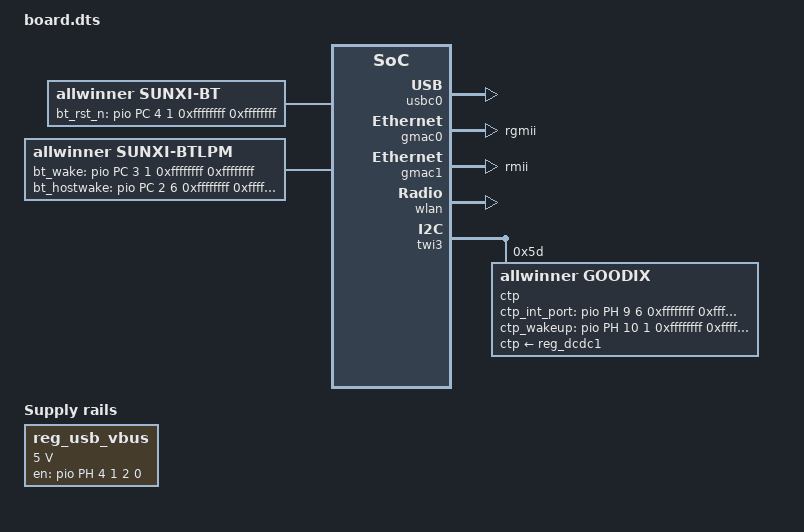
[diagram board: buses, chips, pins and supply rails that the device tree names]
/*
 * qihua-x507 board support.
 */

/dts-v1/;

#include "qihua-x507-common.dtsi"
//#include "qihua-x507-nvp6158.dtsi"
//#include "qihua-x507-nvp6158xusb.dtsi"
//#include "qihua-x507-ov2680.dtsi"
#include "qihua-x507-ov5640.dtsi"
//#include "qihua-x507-edp1920x1080.dtsi"
//#include "qihua-x507-vga1280x800.dtsi"
//#include "qihua-x507-lvds800x600.dtsi"
//#include "qihua-x507-lvds1024x768.dtsi"
//#include "qihua-x507-lvds1920x1080.dtsi"
//#include "qihua-x507-lvdsEV101WXM-N80.dtsi"
//#include "qihua-x507-hdmi720p.dtsi"
//#include "qihua-x507-hdmi1080p.dtsi"
//#include "qihua-x507-rgb800x480.dtsi"
#include "qihua-x507-rgb1024x600.dtsi"


&reg_usb_vbus {
	compatible = "regulator-fixed";
	gpio = <&pio PH 4 1 2 0 1>;
	regulator-name = "usb-vbus";
	regulator-min-microvolt = <5000000>;
	regulator-max-microvolt = <5000000>;
	enable-active-high;
};

&soc {
	usbc0:usbc0@0 {
		device_type		= "usbc0";
		usb_port_type		= <0x2>;
		usb_detect_type		= <0x1>;
		usb_detect_mode		= <0x0>;
		usb_id_gpio		= <&pio PE 16 0 1 0 0>;
		usb_det_vbus_gpio	= <&pio PE 17 0 1 0 0>;
		usb_regulator_io	= "nocare";
		usb_wakeup_suspend	= <0x0>;
		usb_luns		= <0x3>;
		usb_serial_unique	= <0x0>;
		usb_serial_number	= "20080411";
		status			= "okay";
	};

	gmac0: eth@05020000 {
		phy-mode = "rgmii";
		phy-rst = <&pio PI 6 1 1 1 0>;
		use_ephy25m = <0>;
		tx-delay = <5>;
		rx-delay = <17>;
		gmac-power0-supply = <&reg_cldo1>;
		gmac-power1-supply;
		gmac-power2-supply;
		gmac-power0-vol = <3300000>;
		gmac-power1-vol;
		gmac-power2-vol;
		status = "okay";
	};

	gmac1: eth@05030000 {
		phy-mode = "rmii";
		phy-rst = <&pio PA 12 1 1 1 0>;
		use_ephy25m = <0>;
		tx-delay = <7>;
		rx-delay = <0>;
		gmac-power0-supply = <&reg_dcdc1>;
		gmac-power1-supply;
		gmac-power2-supply;
		gmac-power0-vol = <3300000>;
		gmac-power1-vol;
		gmac-power2-vol;
		status = "okay";
	};

	wlan:wlan {
		compatible    = "allwinner,sunxi-wlan";
		clocks        = <&clk_losc_out>;
		pinctrl-0     = <&clk_losc_pins_a>;
		pinctrl-names = "default";
		wlan_busnum   = <0x1>;
		wlan_power    = "axp858-dcdc1";
		wlan_io_regulator = "axp858-aldo1";
		wlan_regon    = <&pio PC 7 1 0xffffffff 0xffffffff 0>;
		wlan_hostwake = <&pio PC 12 6 0xffffffff 0xffffffff 0>;
		chip_en;
		power_en;
		status        = "okay";
	};

	bt:bt {
		compatible    = "allwinner,sunxi-bt";
		clocks        = <&clk_losc_out>;
		bt_power      = "axp858-dcdc1";
		bt_io_regulator = "axp858-aldo1";
		bt_rst_n      = <&pio PC 4 1 0xffffffff 0xffffffff 0>;
		status        = "okay";
	};

	btlpm:btlpm {
		compatible  = "allwinner,sunxi-btlpm";
		uart_index  = <0x1>;
		bt_wake     = <&pio PC 3 1 0xffffffff 0xffffffff 1>;
		bt_hostwake = <&pio PC 2 6 0xffffffff 0xffffffff 0>;
		status      = "okay";
	};

	twi3: twi@0x05002c00 {
		status = "okay";
		ctp {
			compatible = "allwinner,goodix";
			reg = <0x5d>;
			device_type = "ctp";
			status = "okay";
			ctp_twi_id = <0x3>;
			ctp_twi_addr = <0x5d>;
			ctp_screen_max_x = <1024>;
			ctp_screen_max_y = <600>;
			ctp_revert_x_flag = <0x0>;
			ctp_revert_y_flag = <0x0>;
			ctp_exchange_x_y_flag = <0x0>;
			ctp_int_port = <&pio PH 9 6 0xffffffff 0xffffffff 0>;
			ctp_wakeup = <&pio PH 10 1 0xffffffff 0xffffffff 1>;
			ctp-supply = <&reg_dcdc1>;
			ctp_power_ldo_vol = <3300>;
		};
	};

	lcd0: lcd0@01c0c000 {
		lcd_used         = <1>;
		lcd_bl_en        = <&pio PE 22 1 0 3 1>;
	};
};
